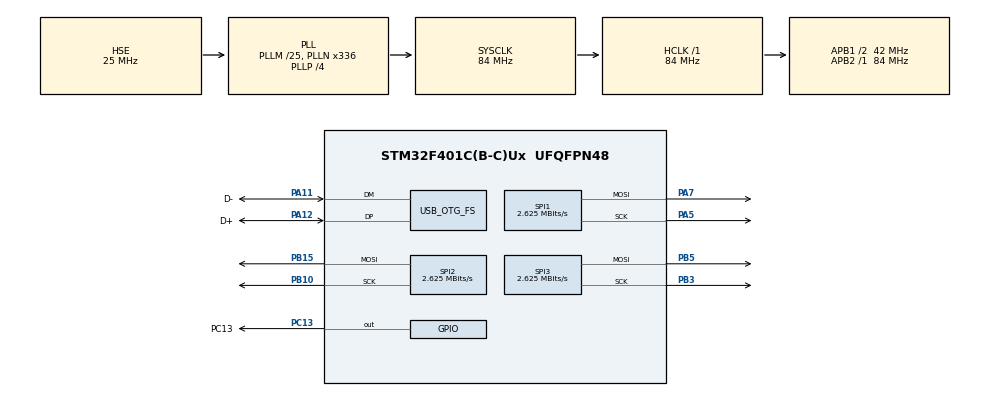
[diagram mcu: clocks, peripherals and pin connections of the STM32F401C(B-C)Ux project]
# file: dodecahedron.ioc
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Dma.Request0=SPI1_TX
Dma.Request1=SPI2_TX
Dma.Request2=SPI3_TX
Dma.SPI1_TX.0.Direction=DMA_MEMORY_TO_PERIPH
Dma.SPI1_TX.0.FIFOMode=DMA_FIFOMODE_DISABLE
Dma.SPI1_TX.0.Instance=DMA2_Stream5
Dma.SPI1_TX.0.MemDataAlignment=DMA_MDATAALIGN_BYTE
Dma.SPI1_TX.0.MemInc=DMA_MINC_ENABLE
Dma.SPI1_TX.0.Mode=DMA_NORMAL
Dma.SPI1_TX.0.PeriphDataAlignment=DMA_PDATAALIGN_BYTE
Dma.SPI1_TX.0.PeriphInc=DMA_PINC_DISABLE
Dma.SPI1_TX.0.Priority=DMA_PRIORITY_HIGH
Dma.SPI2_TX.1.Direction=DMA_MEMORY_TO_PERIPH
Dma.SPI2_TX.1.FIFOMode=DMA_FIFOMODE_DISABLE
Dma.SPI2_TX.1.Instance=DMA1_Stream4
Dma.SPI2_TX.1.MemDataAlignment=DMA_MDATAALIGN_BYTE
Dma.SPI2_TX.1.MemInc=DMA_MINC_ENABLE
Dma.SPI2_TX.1.Mode=DMA_NORMAL
Dma.SPI2_TX.1.PeriphDataAlignment=DMA_PDATAALIGN_BYTE
Dma.SPI2_TX.1.PeriphInc=DMA_PINC_DISABLE
Dma.SPI2_TX.1.Priority=DMA_PRIORITY_HIGH
Dma.SPI3_TX.2.Direction=DMA_MEMORY_TO_PERIPH
Dma.SPI3_TX.2.FIFOMode=DMA_FIFOMODE_DISABLE
Dma.SPI3_TX.2.Instance=DMA1_Stream5
Dma.SPI3_TX.2.MemDataAlignment=DMA_MDATAALIGN_BYTE
Dma.SPI3_TX.2.MemInc=DMA_MINC_ENABLE
Dma.SPI3_TX.2.Mode=DMA_NORMAL
Dma.SPI3_TX.2.PeriphDataAlignment=DMA_PDATAALIGN_BYTE
Dma.SPI3_TX.2.PeriphInc=DMA_PINC_DISABLE
Dma.SPI3_TX.2.Priority=DMA_PRIORITY_HIGH
Mcu.Family=STM32F4
Mcu.Name=STM32F401C(B-C)Ux
Mcu.Package=UFQFPN48
NVIC.DMA1_Stream4_IRQn=true\:2\:0\:true\:false\:true\:false\:true\:true
NVIC.DMA1_Stream5_IRQn=true\:2\:0\:true\:false\:true\:false\:true\:true
NVIC.DMA2_Stream5_IRQn=true\:2\:0\:true\:false\:true\:false\:true\:true
NVIC.OTG_FS_IRQn=true\:0\:0\:true\:false\:true\:false\:true\:true
NVIC.PriorityGroup=NVIC_PRIORITYGROUP_4
PA11.GPIO_Label=D-
PA11.GPIO_PuPd=GPIO_NOPULL
PA11.Mode=Device_Only
PA11.Signal=USB_OTG_FS_DM
PA12.GPIO_Label=D+
PA12.GPIO_PuPd=GPIO_NOPULL
PA12.Mode=Device_Only
PA12.Signal=USB_OTG_FS_DP
PA5.GPIO_Mode=GPIO_MODE_AF_PP
PA5.Mode=TX_Only_Simplex_Unidirect_Master
PA5.Signal=SPI1_SCK
PA7.GPIO_PuPd=GPIO_NOPULL
PA7.Mode=TX_Only_Simplex_Unidirect_Master
PA7.Signal=SPI1_MOSI
PB10.Mode=TX_Only_Simplex_Unidirect_Master
PB10.Signal=SPI2_SCK
PB15.Mode=TX_Only_Simplex_Unidirect_Master
PB15.Signal=SPI2_MOSI
PB3.Mode=TX_Only_Simplex_Unidirect_Master
PB3.Signal=SPI3_SCK
PB5.Mode=TX_Only_Simplex_Unidirect_Master
PB5.Signal=SPI3_MOSI
PC13-ANTI_TAMP.GPIO_Label=PC13
PC13-ANTI_TAMP.Signal=GPIO_Output
PC14-OSC32_IN.Mode=LSE-External-Oscillator
PC14-OSC32_IN.Signal=RCC_OSC32_IN
PC15-OSC32_OUT.Mode=LSE-External-Oscillator
PC15-OSC32_OUT.Signal=RCC_OSC32_OUT
PH0\ -\ OSC_IN.Mode=HSE-External-Oscillator
PH0\ -\ OSC_IN.Signal=RCC_OSC_IN
PH1\ -\ OSC_OUT.Mode=HSE-External-Oscillator
PH1\ -\ OSC_OUT.Signal=RCC_OSC_OUT
ProjectManager.HeapSize=0x200
ProjectManager.StackSize=0x400
ProjectManager.TargetToolchain=STM32CubeIDE
RCC.48MHZClocksFreq_Value=48000000
RCC.AHBFreq_Value=84000000
RCC.APB1CLKDivider=RCC_HCLK_DIV2
RCC.APB1Freq_Value=42000000
RCC.APB1TimFreq_Value=84000000
RCC.APB2Freq_Value=84000000
RCC.APB2TimFreq_Value=84000000
RCC.CortexFreq_Value=84000000
RCC.HCLKFreq_Value=84000000
RCC.HSE_VALUE=25000000
RCC.HSI_VALUE=16000000
RCC.PLLM=25
RCC.PLLN=336
RCC.PLLP=RCC_PLLP_DIV4
RCC.PLLQ=7
RCC.SYSCLKFreq_VALUE=84000000
RCC.SYSCLKSource=RCC_SYSCLKSOURCE_PLLCLK
RCC.VCOOutputFreq_Value=336000000
SPI1.BaudRatePrescaler=SPI_BAUDRATEPRESCALER_32
SPI1.CalculateBaudRate=2.625 MBits/s
SPI1.Direction=SPI_DIRECTION_2LINES
SPI1.Mode=SPI_MODE_MASTER
SPI1.VirtualType=VM_MASTER
SPI2.BaudRatePrescaler=SPI_BAUDRATEPRESCALER_16
SPI2.CalculateBaudRate=2.625 MBits/s
SPI2.Direction=SPI_DIRECTION_2LINES
SPI2.Mode=SPI_MODE_MASTER
SPI2.VirtualType=VM_MASTER
SPI3.BaudRatePrescaler=SPI_BAUDRATEPRESCALER_16
SPI3.CalculateBaudRate=2.625 MBits/s
SPI3.Direction=SPI_DIRECTION_2LINES
SPI3.FirstBit=SPI_FIRSTBIT_MSB
SPI3.Mode=SPI_MODE_MASTER
SPI3.VirtualType=VM_MASTER
USB_DEVICE.CLASS_NAME_FS=CDC
USB_DEVICE.USBD_DEBUG_LEVEL=2
USB_DEVICE.VirtualMode=Cdc
USB_DEVICE.VirtualModeFS=Cdc_FS
USB_OTG_FS.VirtualMode=Device_Only
VP_CRC_VS_CRC.Mode=CRC_Activate
VP_USB_DEVICE_VS_USB_DEVICE_CDC_FS.Mode=CDC_FS
board=custom

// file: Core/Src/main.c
/* USER CODE BEGIN Header */
/**
  ******************************************************************************
  * @file           : main.c
  * @brief          : Main program body
  ******************************************************************************
  * @attention
  *
  * Copyright (c) 2025 STMicroelectronics.
  * All rights reserved.
  *
  * This software is licensed under terms that can be found in the LICENSE file
  * in the root directory of this software component.
  * If no LICENSE file comes with this software, it is provided AS-IS.
  *
  ******************************************************************************
  */
/* USER CODE END Header */
#include "main.h"
#include "crc.h"
#include "dma.h"
#include "spi.h"
#include "usb_device.h"
#include "gpio.h"

/* USER CODE BEGIN Includes */
/* --------------------------------------------------------------------------
 * main.c – init sequence for polyhedron, mapping and LED renderer
 * -------------------------------------------------------------------------- */

#include "polyhedron.h"   /* Polyhedron geometry + helpers              */
#include "led_mapping.h"  /* init_mapping / mapping_build_pixel_map      */
#include "led_render.h"   /* init_render / framebuffer ops               */
#include "led_debug.h"    /* debug_edge_map_save / debug_ui_*            */
#include "usb_comms.h"    /* flush_usb_buffer / usb_comms_process        */
#include "spi.h"          /* SPI handle declarations (hspi2, hspi3 …)    */

/* USER CODE END Includes */

/* USER CODE BEGIN PD */

#define USB_INIT_DELAY 1000
#define SERIAL_SEND_RATE 50
#define SERIAL_RECIEVE_RATE 20
#define DEBUG_UI_UPDATE_RATE 1 //1000/60
/* USER CODE END PD */

/* USER CODE BEGIN PM */

Polyhedron poly;  /* our geometry instance */

void enable_DWT(void){

	  // ─── enable CPU cycle‐counter ──────────────────────
	  CoreDebug->DEMCR |= CoreDebug_DEMCR_TRCENA_Msk;   // turn on trace
	  DWT->CYCCNT    = 0;                               // clear counter
	  DWT->CTRL    |= DWT_CTRL_CYCCNTENA_Msk;           // start counting

}

/* USER CODE END PM */

void SystemClock_Config(void);
/* USER CODE BEGIN PFP */

/* --------------------------------------------------------------------------
 * GLOBALS
 * -------------------------------------------------------------------------- */

extern SPI_HandleTypeDef hspi1;                       /* declared in spi.c     */
extern SPI_HandleTypeDef hspi2;                       /* declared in spi.c     */
extern SPI_HandleTypeDef hspi3;                       /* declared in spi.c     */
static SPI_HandleTypeDef *const led_spis[] = { &hspi1, &hspi2, &hspi3 };  /* 3 strips */

/* USER CODE END PFP */

/* USER CODE BEGIN 0 */

/* ---------- helpers -------------------------------------- */
uint32_t last_debug_ui_update_time = 0;
uint32_t last_serial_recieve_time = 0;
uint32_t last_serial_send_time = 0;
uint32_t cur_time = 0;
/* ---------------------------------------------------------- */

/* USER CODE END 0 */

int main(void) {

	/* MCU Configuration--------------------------------------------------------*/

	/* Reset of all peripherals, Initializes the Flash interface and the Systick. */
	HAL_Init();

	/* Configure the system clock */
	SystemClock_Config();

	/* USER CODE BEGIN SysInit */
	//HAL_Delay(USB_INIT_DELAY);
	/* USER CODE END SysInit */

	/* Initialize all configured peripherals */
	MX_GPIO_Init();
	MX_DMA_Init();
	MX_SPI1_Init();
	MX_SPI2_Init();
	MX_SPI3_Init();
	MX_USB_DEVICE_Init();
	MX_CRC_Init();
	/* USER CODE BEGIN 2 */

	enable_DWT();

	g_global_brightness = 100; /* default global dimming       */

	/* 1. Build the base geometry (regular dodecahedron) */

	poly_init_dodecahedron(&poly);
	/* orient it to stand on the tip */
	poly_orient_to_vertex(&poly, 0);

	/* 2. Build logical-to-physical edge mapping */
    if (!init_mapping(&poly, USER_MAP, USER_FLIP, EDGE_CNT)) { Error_Handler(); }

	/* 3. Initialise LED renderer (framebuffer + SPI DMA buffers) */
	const uint8_t strip_cnt = sizeof led_spis / sizeof led_spis[0];
	if (!init_render(mapping_get_total_pixels(), strip_cnt, led_spis)) { Error_Handler(); }

	/* USER CODE END 2 */

	/* Infinite loop */
	/* USER CODE BEGIN WHILE */
	while (1) {

		if (cur_time - last_serial_send_time > SERIAL_SEND_RATE) {
			last_serial_send_time = cur_time;
			flush_usb_buffer();
		}
		if (cur_time - last_serial_recieve_time > SERIAL_RECIEVE_RATE) {
			last_serial_recieve_time = cur_time;
			usb_comms_process();
		}
		if (cur_time - last_debug_ui_update_time > DEBUG_UI_UPDATE_RATE) {
			last_debug_ui_update_time = cur_time;
			debug_ui_tick();
		}

		g_global_brightness = 100;

		/* USER CODE END WHILE */

		/* USER CODE BEGIN 3 */
		cur_time = HAL_GetTick();
	}
	/* USER CODE END 3 */
}

void SystemClock_Config(void) {
	RCC_OscInitTypeDef RCC_OscInitStruct = { 0 };
	RCC_ClkInitTypeDef RCC_ClkInitStruct = { 0 };

	/** Configure the main internal regulator output voltage
	 */
	__HAL_RCC_PWR_CLK_ENABLE();
	__HAL_PWR_VOLTAGESCALING_CONFIG(PWR_REGULATOR_VOLTAGE_SCALE2);

	/** Initializes the RCC Oscillators according to the specified parameters
	 * in the RCC_OscInitTypeDef structure.
	 */
  RCC_OscInitStruct.OscillatorType = RCC_OSCILLATORTYPE_HSE;
  RCC_OscInitStruct.HSEState = RCC_HSE_ON;
  RCC_OscInitStruct.PLL.PLLState = RCC_PLL_ON;
  RCC_OscInitStruct.PLL.PLLSource = RCC_PLLSOURCE_HSE;
  RCC_OscInitStruct.PLL.PLLM = 25;
  RCC_OscInitStruct.PLL.PLLN = 336;
  RCC_OscInitStruct.PLL.PLLP = RCC_PLLP_DIV4;
  RCC_OscInitStruct.PLL.PLLQ = 7;
  if (HAL_RCC_OscConfig(&RCC_OscInitStruct) != HAL_OK)
  {
    Error_Handler();
  }

  /** Initializes the CPU, AHB and APB buses clocks
  */
  RCC_ClkInitStruct.ClockType = RCC_CLOCKTYPE_HCLK|RCC_CLOCKTYPE_SYSCLK
                              |RCC_CLOCKTYPE_PCLK1|RCC_CLOCKTYPE_PCLK2;
  RCC_ClkInitStruct.SYSCLKSource = RCC_SYSCLKSOURCE_PLLCLK;
  RCC_ClkInitStruct.AHBCLKDivider = RCC_SYSCLK_DIV1;
  RCC_ClkInitStruct.APB1CLKDivider = RCC_HCLK_DIV2;
  RCC_ClkInitStruct.APB2CLKDivider = RCC_HCLK_DIV1;

  if (HAL_RCC_ClockConfig(&RCC_ClkInitStruct, FLASH_LATENCY_2) != HAL_OK)
  {
    Error_Handler();
  }
}

void Error_Handler(void)
{
  __disable_irq();
  while (1)
  {
  }
}
